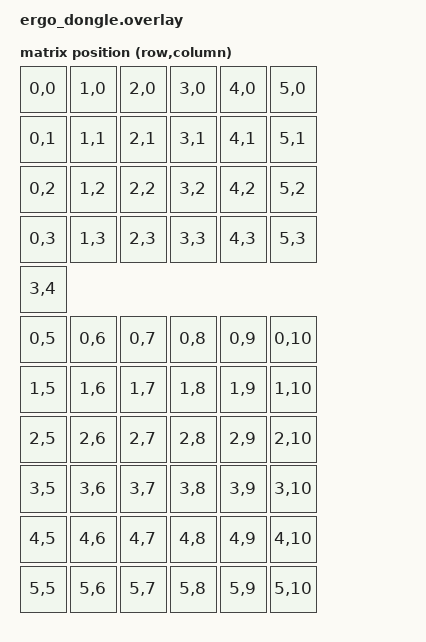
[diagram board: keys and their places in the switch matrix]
/*
 * Ergo dongle (central). It has no keys of its own, so it uses a mock kscan.
 * It carries the SAME matrix transform and physical layout as the keyboard so
 * it can map key-position events received from the two peripherals (left and
 * right halves) into behaviors, and so ZMK Studio has a full layout to show.
 *
 * Phase 1: bare dongle, NO display yet. The screen (prospector module) is
 * added in a later phase once this is confirmed working.
 */

#include <dt-bindings/zmk/matrix_transform.h>
#include "../ergo/ergo-layouts.dtsi"   /* defines ergo_physical_layout */
#include "../ergo/ergo-trackpad.dtsi"  /* trackpad split relay + listener */
#include "../ergo/ergo-encoder.dtsi"   /* keymap-sensors node for encoder relay */

/ {
    chosen {
        zmk,kscan = &mock_kscan;
        zmk,physical-layout = &ergo_physical_layout;
    };

    mock_kscan: mock_kscan_0 {
        compatible = "zmk,kscan-mock";
        columns = <0>;
        rows = <0>;
        events = <0>;
    };

    /*
     * Copied verbatim from ergo.dtsi so the dongle decodes peripheral key
     * positions identically. 11 logical columns x 6 rows; left half is
     * column-major (logical cols 0..4), right half row-major (cols 5..10).
     */
    default_transform: keymap_transform_0 {
        compatible = "zmk,matrix-transform";
        columns = <11>;
        rows = <6>;
        map = <
            /* ---- LEFT half: logical columns 0..4 (column-major) ---- */
            RC(0,0) RC(1,0) RC(2,0) RC(3,0) RC(4,0) RC(5,0)
            RC(0,1) RC(1,1) RC(2,1) RC(3,1) RC(4,1) RC(5,1)
            RC(0,2) RC(1,2) RC(2,2) RC(3,2) RC(4,2) RC(5,2)
            RC(0,3) RC(1,3) RC(2,3) RC(3,3) RC(4,3) RC(5,3)
            RC(3,4)

            /* ---- RIGHT half: logical columns 5..10 (row-major) ---- */
            RC(0,5) RC(0,6) RC(0,7) RC(0,8) RC(0,9) RC(0,10)
            RC(1,5) RC(1,6) RC(1,7) RC(1,8) RC(1,9) RC(1,10)
            RC(2,5) RC(2,6) RC(2,7) RC(2,8) RC(2,9) RC(2,10)
            RC(3,5) RC(3,6) RC(3,7) RC(3,8) RC(3,9) RC(3,10)
            RC(4,5) RC(4,6) RC(4,7) RC(4,8) RC(4,9) RC(4,10)
            RC(5,5) RC(5,6) RC(5,7) RC(5,8) RC(5,9) RC(5,10)
        >;
    };
};

/* Attach the transform to the shared physical layout (same as the keyboard). */
&ergo_physical_layout {
    transform = <&default_transform>;
};

/* Enable the trackpad listener here on the central. It receives relayed
   events from the right peripheral's tps43 via the shared input-split. */
&tps43_split {
    status = "okay";
};

&trackpad_listener {
    status = "okay";
};
